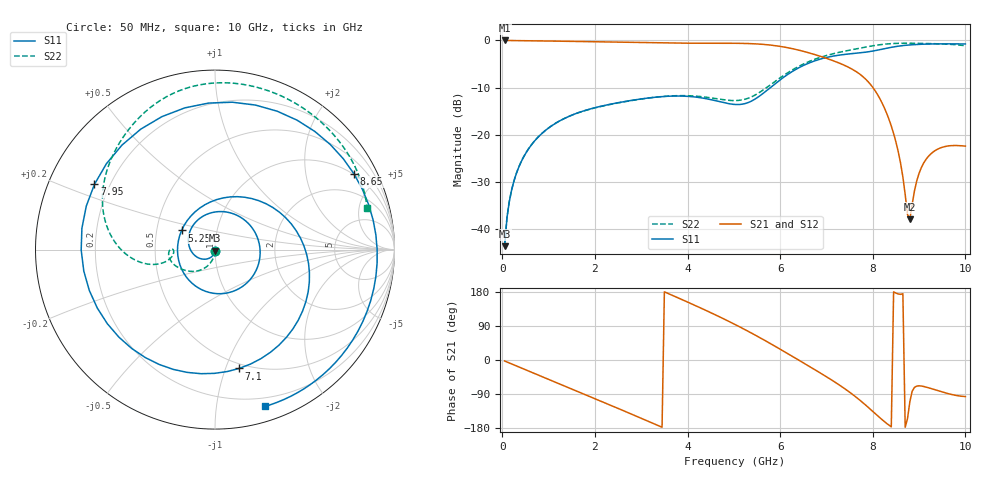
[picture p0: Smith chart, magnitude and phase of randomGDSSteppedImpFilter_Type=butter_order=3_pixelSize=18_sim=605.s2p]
! freq	dB(S11)	phase(S11)	dB(S12)	phase(S12)
!  dB(S21)	phase(S21)	dB(S22)	phase(S22)
!S-par simulation data
#  GHz  S  DB  R 50
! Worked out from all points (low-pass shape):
!   200 points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, 50 MHz to 10 GHz, reference 50 ohm
!   highest |S21| = 0.00 dB at 50 MHz (marker M1); lowest = -37.9 dB at 8.8 GHz (marker M2)
!   |S21| within 3 dB of the highest: start of sweep to 6.751 GHz
!   lowest |S11| = -43.6 dB at 50 MHz (marker M3), VSWR 1.01, Z = 50 - j0.656 ohm
!   |S11| at or under -10 dB: start of sweep to 5.788 GHz
!   |S22| runs from -43.6 to -0.6 dB; largest |S21 - S12| = 0
!   S11 on the Smith chart (normalised r, x): 50 MHz: 1.00, -0.01; 5.25 GHz: 0.67, +0.15; 7.1 GHz: 0.46, -1.12; 7.95 GHz: 0.14, +0.25; 8.65 GHz: 0.97, +3.68; 10 GHz: 0.12, -1.36
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0.05  -43.64 -92.6  -0.00 -2.6  -0.00 -2.6  -43.63 -90.6
0.2  -31.78 -104.4  -0.02 -10.3  -0.02 -10.3  -31.75 -95.7
0.5  -24.04 -127.0  -0.05 -25.7  -0.05 -25.7  -24.00 -105.2
1.75  -14.97 136.8  -0.24 -89.3  -0.24 -89.3  -14.99 -137.0
2.5  -13.21 73.6  -0.37 -127.8  -0.37 -127.8  -13.25 -150.3
3.4  -11.96 -4.9  -0.52 -174.8  -0.52 -174.8  -11.95 -164.8
4.2  -12.04 -77.1  -0.60 141.9  -0.60 141.9  -11.83 -177.7
5.05  -13.60 -178.3  -0.61 92.2  -0.61 92.2  -12.75 -176.6
5.25  -13.37 150.3  -0.64 79.6  -0.64 79.6  -12.45 -172.1
5.95  -8.73 48.1  -1.19 32.0  -1.19 32.0  -8.27 -168.0
6.7  -4.50 -34.9  -2.85 -22.0  -2.85 -22.0  -4.17 167.5
7.1  -3.41 -78.5  -4.14 -51.9  -4.14 -51.9  -2.93 150.8
7.5  -2.85 -130.1  -5.81 -84.9  -5.81 -84.9  -2.06 134.0
7.75  -2.61 -170.7  -7.38 -108.9  -7.38 -108.9  -1.58 123.5
7.95  -2.34 151.5  -9.33 -130.2  -9.33 -130.2  -1.22 114.6
8.15  -1.96 111.8  -12.29 -152.0  -12.29 -152.0  -0.91 105.2
8.35  -1.55 74.4  -16.74 -172.0  -16.74 -172.0  -0.71 95.4
8.65  -1.09 28.6  -28.97 174.9  -28.97 174.9  -0.60 80.8
8.8  -0.95 10.6  -37.94 -110.6  -37.94 -110.6  -0.59 73.7
8.95  -0.85 -4.8  -29.77 -68.9  -29.77 -68.9  -0.61 66.7
9.15  -0.78 -22.1  -25.22 -71.4  -25.22 -71.4  -0.65 57.4
10  -0.75 -72.2  -22.42 -96.6  -22.42 -96.6  -1.13 15.1
